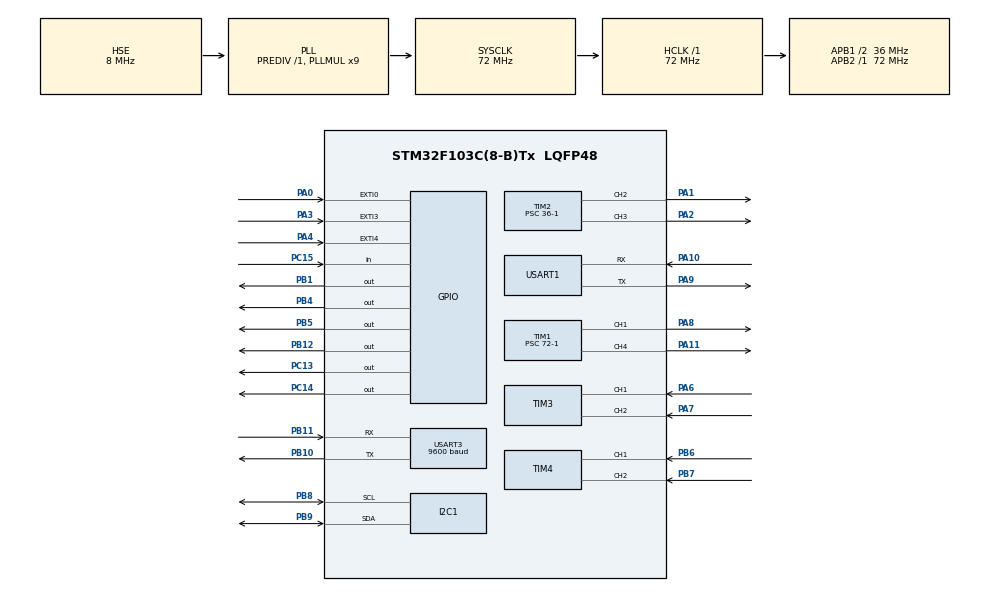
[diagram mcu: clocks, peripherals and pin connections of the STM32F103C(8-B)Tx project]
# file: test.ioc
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Dma.Request0=USART1_RX
Dma.USART1_RX.0.Direction=DMA_PERIPH_TO_MEMORY
Dma.USART1_RX.0.Instance=DMA1_Channel5
Dma.USART1_RX.0.MemDataAlignment=DMA_MDATAALIGN_BYTE
Dma.USART1_RX.0.MemInc=DMA_MINC_ENABLE
Dma.USART1_RX.0.Mode=DMA_NORMAL
Dma.USART1_RX.0.PeriphDataAlignment=DMA_PDATAALIGN_BYTE
Dma.USART1_RX.0.PeriphInc=DMA_PINC_DISABLE
Dma.USART1_RX.0.Priority=DMA_PRIORITY_LOW
Mcu.Family=STM32F1
Mcu.Name=STM32F103C(8-B)Tx
Mcu.Package=LQFP48
NVIC.DMA1_Channel5_IRQn=true\:0\:0\:false\:false\:true\:false\:true\:true
NVIC.EXTI0_IRQn=true\:15\:0\:true\:false\:true\:true\:true\:true
NVIC.EXTI3_IRQn=true\:15\:0\:true\:false\:true\:true\:true\:true
NVIC.EXTI4_IRQn=true\:15\:0\:true\:false\:true\:true\:true\:true
NVIC.PriorityGroup=NVIC_PRIORITYGROUP_4
NVIC.TIM1_UP_IRQn=true\:0\:0\:false\:false\:true\:true\:true\:true
NVIC.USART1_IRQn=true\:0\:0\:false\:false\:true\:true\:true\:true
NVIC.USART3_IRQn=true\:0\:0\:true\:false\:true\:true\:true\:true
PA0-WKUP.GPIO_ModeDefaultEXTI=GPIO_MODE_IT_FALLING
PA0-WKUP.GPIO_PuPd=GPIO_PULLUP
PA0-WKUP.Signal=GPXTI0
PA1.Signal=S_TIM2_CH2
PA10.Mode=Asynchronous
PA10.Signal=USART1_RX
PA11.Signal=S_TIM1_CH4
PA13.Mode=Serial_Wire
PA13.Signal=SYS_JTMS-SWDIO
PA14.Mode=Serial_Wire
PA14.Signal=SYS_JTCK-SWCLK
PA2.Signal=S_TIM2_CH3
PA3.GPIO_ModeDefaultEXTI=GPIO_MODE_IT_FALLING
PA3.GPIO_PuPd=GPIO_PULLUP
PA3.Signal=GPXTI3
PA4.GPIO_ModeDefaultEXTI=GPIO_MODE_IT_FALLING
PA4.GPIO_PuPd=GPIO_PULLUP
PA4.Signal=GPXTI4
PA6.Signal=S_TIM3_CH1
PA7.Signal=S_TIM3_CH2
PA8.Signal=S_TIM1_CH1
PA9.Mode=Asynchronous
PA9.Signal=USART1_TX
PB1.Signal=GPIO_Output
PB10.Mode=Asynchronous
PB10.Signal=USART3_TX
PB11.Mode=Asynchronous
PB11.Signal=USART3_RX
PB12.Signal=GPIO_Output
PB4.Signal=GPIO_Output
PB5.Signal=GPIO_Output
PB6.Signal=S_TIM4_CH1
PB7.Signal=S_TIM4_CH2
PB8.Mode=I2C
PB8.Signal=I2C1_SCL
PB9.Mode=I2C
PB9.Signal=I2C1_SDA
PC13-TAMPER-RTC.GPIO_ModeDefaultOutputPP=GPIO_MODE_OUTPUT_PP
PC13-TAMPER-RTC.GPIO_PuPd=GPIO_PULLDOWN
PC13-TAMPER-RTC.Signal=GPIO_Output
PC14-OSC32_IN.GPIO_Speed=GPIO_SPEED_FREQ_HIGH
PC14-OSC32_IN.PinState=GPIO_PIN_RESET
PC14-OSC32_IN.Signal=GPIO_Output
PC15-OSC32_OUT.GPIO_PuPd=GPIO_PULLUP
PC15-OSC32_OUT.Signal=GPIO_Input
PD0-OSC_IN.Mode=HSE-External-Oscillator
PD0-OSC_IN.Signal=RCC_OSC_IN
PD1-OSC_OUT.Mode=HSE-External-Oscillator
PD1-OSC_OUT.Signal=RCC_OSC_OUT
ProjectManager.HeapSize=0x200
ProjectManager.StackSize=0x400
ProjectManager.TargetToolchain=MDK-ARM V5.32
RCC.AHBFreq_Value=72000000
RCC.APB1CLKDivider=RCC_HCLK_DIV2
RCC.APB1Freq_Value=36000000
RCC.APB1TimFreq_Value=72000000
RCC.APB2Freq_Value=72000000
RCC.APB2TimFreq_Value=72000000
RCC.HCLKFreq_Value=72000000
RCC.PLLMUL=RCC_PLL_MUL9
RCC.PLLSourceVirtual=RCC_PLLSOURCE_HSE
RCC.SYSCLKFreq_VALUE=72000000
RCC.SYSCLKSource=RCC_SYSCLKSOURCE_PLLCLK
RCC.USBFreq_Value=72000000
SH.S_TIM1_CH1.0=TIM1_CH1,PWM Generation1 CH1
SH.S_TIM1_CH4.0=TIM1_CH4,PWM Generation4 CH4
SH.S_TIM2_CH2.0=TIM2_CH2,PWM Generation2 CH2
SH.S_TIM2_CH3.0=TIM2_CH3,PWM Generation3 CH3
SH.S_TIM3_CH1.0=TIM3_CH1,Encoder_Interface
SH.S_TIM3_CH2.0=TIM3_CH2,Encoder_Interface
SH.S_TIM4_CH1.0=TIM4_CH1,Encoder_Interface
SH.S_TIM4_CH2.0=TIM4_CH2,Encoder_Interface
TIM1.Channel-PWM\ Generation1\ CH1=TIM_CHANNEL_1
TIM1.Channel-PWM\ Generation4\ CH4=TIM_CHANNEL_4
TIM1.Period=20000-1
TIM1.Prescaler=72-1
TIM2.Channel-PWM\ Generation2\ CH2=TIM_CHANNEL_2
TIM2.Channel-PWM\ Generation3\ CH3=TIM_CHANNEL_3
TIM2.Period=100-1
TIM2.Prescaler=36-1
TIM3.EncoderMode=TIM_ENCODERMODE_TI12
TIM3.IC1Filter=15
TIM3.IC2Filter=15
TIM4.EncoderMode=TIM_ENCODERMODE_TI12
TIM4.IC1Filter=15
TIM4.IC2Filter=15
USART1.VirtualMode=VM_ASYNC
USART3.BaudRate=9600
USART3.VirtualMode=VM_ASYNC
VP_TIM1_VS_ClockSourceINT.Mode=Internal
board=custom

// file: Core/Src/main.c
/* USER CODE BEGIN Header */
/**
 ******************************************************************************
 * @file           : main.c
 * @brief          : Main program body
 ******************************************************************************
 * @attention
 *
 * Copyright (c) 2024 STMicroelectronics.
 * All rights reserved.
 *
 * This software is licensed under terms that can be found in the LICENSE file
 * in the root directory of this software component.
 * If no LICENSE file comes with this software, it is provided AS-IS.
 *
 ******************************************************************************
 */
/* USER CODE END Header */
#include "main.h"
#include "dma.h"
#include "i2c.h"
#include "tim.h"
#include "usart.h"
#include "gpio.h"

/* USER CODE BEGIN Includes */
#include "headfile.h"
/* USER CODE END Includes */

/* USER CODE BEGIN PV */
//OLED显示变量
unsigned char display_buf[20] = {0};
uint8_t oled_slowtime;
//速度环PID变量
int8_t target_speed = 0;
float yaw_target = -180;
//循迹数据获取
uint8_t gray_data;
//串口1变量：调试/调参/总线舵机接收当前角度
uint8_t head1 = 0x03;
uint8_t head2 = 0xfc;
uint8_t tail1 = 0xfc;
uint8_t tail2 = 0x03;
uint8_t uart_tx_time;
uint8_t uart_rx_data[20] = {0};
//串口3变量：JY61P用
uint8_t jy61p_data;
/* USER CODE END PV */

void SystemClock_Config(void);
/* USER CODE BEGIN PFP */
//上位机波形调PID
void DataVision_Send()
{
	uint8_t target = (uint8_t)motorL.target;
	uint8_t now = (uint8_t)motorL.now;
	HAL_UART_Transmit(&huart1, &head1, 1, 10);
	HAL_UART_Transmit(&huart1, &head2, 1, 10);

	HAL_UART_Transmit(&huart1, &target, 1, 10);
	HAL_UART_Transmit(&huart1, &now, 1, 10);

	HAL_UART_Transmit(&huart1, &tail1, 1, 10);
	HAL_UART_Transmit(&huart1, &tail2, 1, 10);
}
void HAL_UART_RxCpltCallback(UART_HandleTypeDef *huart)
{
	if(huart == &huart3)
	{
		jy61p_ReceiveData(jy61p_data);
		HAL_UART_Receive_IT(&huart3, &jy61p_data, 1);
	}

//	//获取舵机当前角度
//	if(huart == &huart1)
//	{
//		if(get_x_angle_flag | get_y_angle_flag)
//		{
//			HAL_UART_Transmit(&huart3, uart_rx_data, sizeof(uart_rx_data), 10);
//			Analysis_Rx_Data(uart_rx_data);
//			get_x_angle_flag = get_y_angle_flag = 0;
//		}
//		HAL_UART_Transmit(&huart3, uart_rx_data, sizeof(uart_rx_data), 10);
//		memset(uart_rx_data, 0, sizeof(uart_rx_data));
//		HAL_UART_Receive_IT(&huart1, uart_rx_data, sizeof(uart_rx_data));

//	}
}

void HAL_UARTEx_RxEventCallback(UART_HandleTypeDef *huart, uint16_t Size)
{
	//获取舵机当前角度
	if(huart == &huart1)
	{
//		if(get_x_angle_flag | get_y_angle_flag)
//		{
////			HAL_UART_Transmit(&huart3, uart_rx_data, sizeof(uart_rx_data), 10);
//			Analysis_Rx_Data(uart_rx_data);
//			get_x_angle_flag = get_y_angle_flag = 0;
//		}
		HAL_UART_Transmit(&huart3, uart_rx_data, sizeof(uart_rx_data), 10);
		HAL_UARTEx_ReceiveToIdle_DMA(&huart1, uart_rx_data, sizeof(uart_rx_data));
		__HAL_DMA_DISABLE_IT(&hdma_usart1_rx, DMA_IT_HT);
	}
}
/* USER CODE END PFP */

int main(void)
{

  /* MCU Configuration--------------------------------------------------------*/

  /* Reset of all peripherals, Initializes the Flash interface and the Systick. */
  HAL_Init();

  /* Configure the system clock */
  SystemClock_Config();

  /* Initialize all configured peripherals */
  MX_GPIO_Init();
  MX_DMA_Init();
  MX_I2C1_Init();
  MX_TIM2_Init();
  MX_TIM3_Init();
  MX_TIM4_Init();
  MX_USART1_UART_Init();
  MX_TIM1_Init();
  MX_USART3_UART_Init();
  /* USER CODE BEGIN 2 */
//	//开启定时器1中断
//	HAL_TIM_Base_Start_IT(&htim1);
//	//开启JY61P串口中断
//	HAL_UART_Receive_IT(&huart3, &jy61p_data, 1);
//	//开启总线舵机串口中断
//	HAL_UARTEx_ReceiveToIdle_DMA(&huart1, uart_rx_data, sizeof(uart_rx_data));
//	__HAL_DMA_DISABLE_IT(&hdma_usart1_rx, DMA_IT_HT);
////	HAL_UART_Receive_IT(&huart1, uart_rx_data, sizeof(uart_rx_data));
//	//OLED初始化
//	HAL_Delay(20);//OLED上电自动初始化需要时间
//	OLED_Init();
//	OLED_Clear();
//	//电机初始化
//	HAL_TIM_PWM_Start(&htim2, TIM_CHANNEL_2);
//	HAL_TIM_PWM_Start(&htim2, TIM_CHANNEL_3);
//	//PWM舵机初始化
//  HAL_TIM_PWM_Start(&htim1, TIM_CHANNEL_1);
//	HAL_TIM_PWM_Start(&htim1, TIM_CHANNEL_4);
//	//编码器初始化
//	HAL_TIM_Encoder_Start(&htim3, TIM_CHANNEL_ALL);
//	HAL_TIM_Encoder_Start(&htim4, TIM_CHANNEL_ALL);
//	//PID初始化
//	Pid_Init(&motorL, DELTA_PID, 3.06, 0.1720, 0.0041);
//	Pid_Init(&motorR, DELTA_PID, 3.058, 0.1715, 0.0045);
//	Pid_Init(&angle, POSITION_PID, 10, 0, 0);
//	Set_Bus_Servo_X_Angle(180);
  /* USER CODE END 2 */

  /* Infinite loop */
  /* USER CODE BEGIN WHILE */
  while (1)
  {
		/********************角度环调试***********************/
//		sprintf((char *)display_buf, "yaw_p:%.2lf  ", Yaw);
//		OLED_ShowString(0, 0, display_buf, 16);
//		sprintf((char *)display_buf, "speed_left:%.d", speed_left);
//		OLED_ShowString(0, 4, display_buf, 16);
//		sprintf((char *)display_buf, "gray_data:%d%d%d%d-%d%d%d%d", (gray_data>>0)&0x01,(gray_data>>1)&0x01,(gray_data>>2)&0x01,(gray_data>>3)&0x01,(gray_data>>4)&0x01,(gray_data>>5)&0x01,(gray_data>>6)&0x01,(gray_data>>7)&0x01);
//		OLED_ShowString(0, 6, display_buf, 16);
//
//		sprintf((char *)display_buf, "yaw_t:%.0lf  ", yaw_target);
//		OLED_ShowString(0, 2, display_buf, 16);
		/********************速度环目标速度OLED显示***********************/
//		if(++oled_slowtime == 100)
//		{
//			oled_slowtime = 0;
//			sprintf((char *)display_buf, "target_speed:%d   ", target_speed);
//			OLED_ShowString(0, 0, display_buf, 16);
//		}
		/********************舵机当前角度获取***********************/
		sprintf((char *)display_buf, "x_servo:%.2f   ", now_x_angle);
		OLED_ShowString(0, 0, display_buf, 16);
		sprintf((char *)display_buf, "y_servo:%.2f   ", now_y_angle);
		OLED_ShowString(0, 2, display_buf, 16);
		Get_Y_Servo_Angle();
		HAL_Delay(500);
//			OLED_ShowString(0, 0, uart_rx_data, 16);

		/********************上位机调试***********************/
//		if(++uart_tx_time == 10)
//		{
//			uart_tx_time = 0;
//			DataVision_Send();
//		}
    /* USER CODE END WHILE */

  }
}

void SystemClock_Config(void)
{
  RCC_OscInitTypeDef RCC_OscInitStruct = {0};
  RCC_ClkInitTypeDef RCC_ClkInitStruct = {0};

  /** Initializes the RCC Oscillators according to the specified parameters
  * in the RCC_OscInitTypeDef structure.
  */
  RCC_OscInitStruct.OscillatorType = RCC_OSCILLATORTYPE_HSE;
  RCC_OscInitStruct.HSEState = RCC_HSE_ON;
  RCC_OscInitStruct.HSEPredivValue = RCC_HSE_PREDIV_DIV1;
  RCC_OscInitStruct.HSIState = RCC_HSI_ON;
  RCC_OscInitStruct.PLL.PLLState = RCC_PLL_ON;
  RCC_OscInitStruct.PLL.PLLSource = RCC_PLLSOURCE_HSE;
  RCC_OscInitStruct.PLL.PLLMUL = RCC_PLL_MUL9;
  if (HAL_RCC_OscConfig(&RCC_OscInitStruct) != HAL_OK)
  {
    Error_Handler();
  }

  /** Initializes the CPU, AHB and APB buses clocks
  */
  RCC_ClkInitStruct.ClockType = RCC_CLOCKTYPE_HCLK|RCC_CLOCKTYPE_SYSCLK
                              |RCC_CLOCKTYPE_PCLK1|RCC_CLOCKTYPE_PCLK2;
  RCC_ClkInitStruct.SYSCLKSource = RCC_SYSCLKSOURCE_PLLCLK;
  RCC_ClkInitStruct.AHBCLKDivider = RCC_SYSCLK_DIV1;
  RCC_ClkInitStruct.APB1CLKDivider = RCC_HCLK_DIV2;
  RCC_ClkInitStruct.APB2CLKDivider = RCC_HCLK_DIV1;

  if (HAL_RCC_ClockConfig(&RCC_ClkInitStruct, FLASH_LATENCY_2) != HAL_OK)
  {
    Error_Handler();
  }
}

void Error_Handler(void)
{
  __disable_irq();
  while (1)
  {
  }
}
